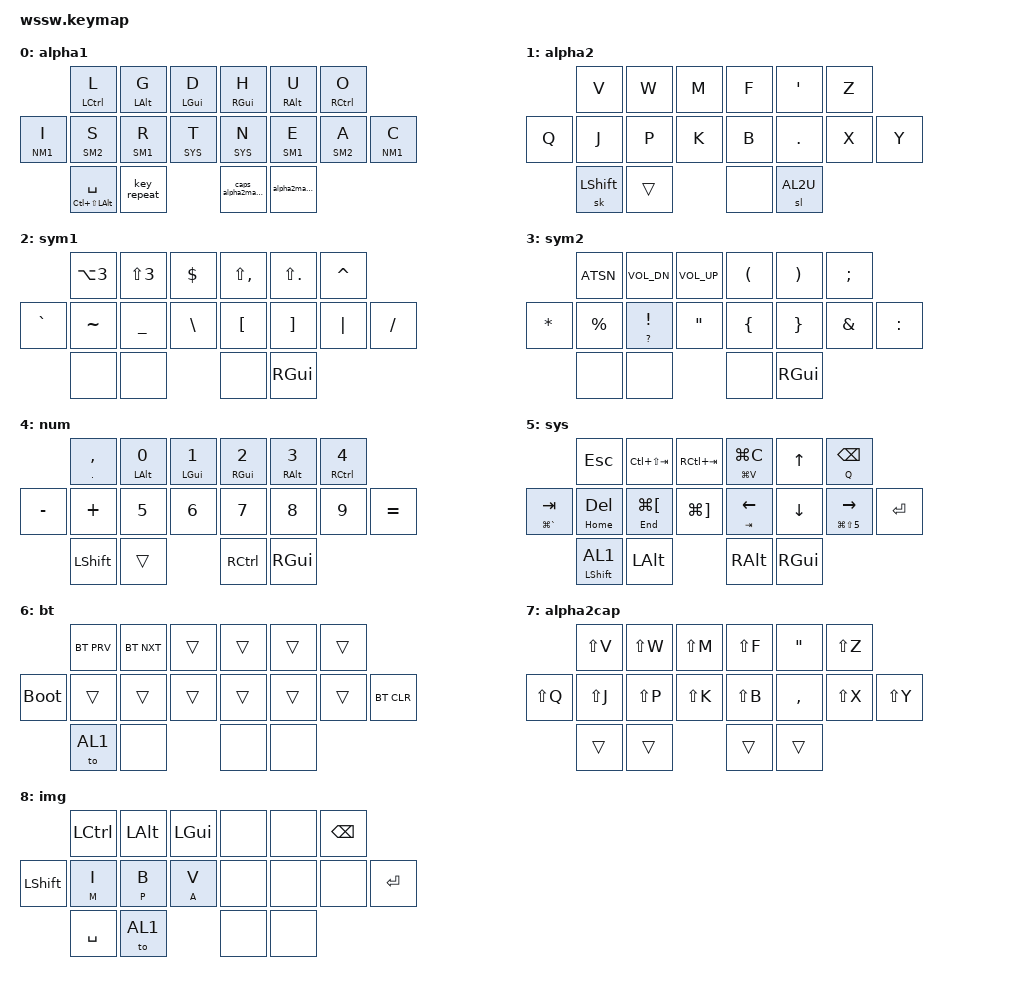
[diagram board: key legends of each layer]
/*
 * Copyright (c) 2020 The ZMK Contributors
 *
 * SPDX-License-Identifier: MIT
 */

#include <behaviors.dtsi>
#include <dt-bindings/zmk/keys.h>
#include <dt-bindings/zmk/bt.h>
#include <dt-bindings/zmk/mouse.h>



&mt {
	tapping-term-ms = <201>;
	flavor = "tap-preferred";
};
&sk {
	release-after-ms = <2000>;
	quick-release;
};

/* Layers */
#define AL1 0
#define AL2 1
#define SM1 2
#define SM2 3	
#define NM1 4	
#define SYS 5
#define BT 6	
#define AL2U 7
#define IMG 8
/ { 
	combos {
		compatible = "zmk,combos";
		combo_sys {
			timeout-ms = <30>;
			key-positions = <3 4 5>;
			bindings = <&to SYS>;
		};
		combo_caps {
			timeout-ms = <30>;
			key-positions = <10 11 12>;
			bindings = <&caps_word>;
		};
		combo_bt  {
			timeout-ms = <10>;
			key-positions = <11 12>;
			bindings = <&to BT>;
			layers = <SM1>; 
		};
		lalt {
			timeout-ms = <20>;
			key-positions = <8 9>;
			bindings = <&kp LALT>; 
			layers = <SYS>; 
		};
		lclk {
			timeout-ms = <20>;
			key-positions = <10 11>;
			bindings = <&mkp LCLK>;
			layers = <SYS>;
		};
		rclk {
			timeout-ms = <20>;
			key-positions = <3 4>;
			bindings = <&mkp RCLK>;
			layers = <SYS>;
		};
		combo_img {
			timeout-ms = <30>;
			key-positions = <0 1 2>;
			bindings = <&to IMG>;
		};

	};

	behaviors {
		hm_l: homerow_mods_left {
			compatible = "zmk,behavior-hold-tap";
			label = "HOMEROW_MODS_L";
			#binding-cells = <2>;
			tapping-term-ms = <300>;
			quick-tap-ms = <250>;
			flavor = "tap-preferred";
			bindings = <&kp>, <&kp>;
			hold-trigger-key-positions = <3 4 5 10 11 12 13 14>; // right hand
		};
		hm_r: homerow_mods_right {
			compatible = "zmk,behavior-hold-tap";
			label = "HOMEROW_MODS_R";
			#binding-cells = <2>;
			tapping-term-ms = <300>;
			quick-tap-ms = <250>;
			flavor = "tap-preferred";
			bindings = <&kp>, <&kp>;
			hold-trigger-key-positions = <0 1 2 6 7 8 9>; // left hand
		};
		sr: shift_layer {
			compatible = "zmk,behavior-hold-tap";
			label = "SHIFT_LAYER";
			#binding-cells = <2>;
			tapping-term-ms = <300>;
			quick_tap_ms = <0>;
			flavor = "tap-preferred";
			bindings = <&kp>, <&to>;
			retro-tap;
		};
		hl_l: homerow_layers_left {
			compatible = "zmk,behavior-hold-tap";
			label = "HOMEROW_LAYERS_L";
			#binding-cells = <2>;
			tapping-term-ms = <220>;
			quick-tap-ms = <250>;
			flavor = "tap-preferred";
			bindings = <&mo>, <&kp>;
			hold-trigger-key-positions = <3 4 5 10 11 12 13 14>; // right hand
		};
		hl_r: homerow_layers_right {
			compatible = "zmk,behavior-hold-tap";
			label = "HOMEROW_LAYERS_R";
			#binding-cells = <2>;
			tapping-term-ms = <220>;
			quick-tap-ms = <250>;
			flavor = "tap-preferred";
			bindings = <&mo>, <&kp>;
			hold-trigger-key-positions = <0 1 2 6 7 8 9>; // left hand
		};
		td: tapdance {
			compatible = "zmk,behavior-hold-tap";
			label = "TAPDANCE";
			#binding-cells = <2>;
			tapping-term-ms = <190>;
			quick-tap-ms = <250>;
			flavor = "tap-preferred";
			bindings = <&kp>, <&kp>;
		};
		alpha2macro: behavior_macro_1 {
			compatible = "zmk,behavior-macro";
			label = "MACRO1";
			#binding-cells = <0>;
			bindings = < &sl AL2 >;
		};
		caps_alpha2macro: behavior_macro_2 {
			compatible = "zmk,behavior-macro";
			label = "MACRO2";
			#binding-cells = <0>;
			bindings = < &sl AL2U >;
		};
	};

	//			00	01	02			03	04	05
	//		06	07	08	09			10	11	12	13
	//					14	15	16	17

	keymap {
		compatible = "zmk,keymap";

		alpha1 {
			bindings = <
									&hm_l LCTL L	&hm_l LALT G	&hm_l LGUI D		&hm_r RGUI H	&hm_r RALT U	&hm_r RCTL O	  
				&hl_l NM1 I		&hl_l SM2 S		&hl_l SM1 R		&hl_l SYS T			&hl_r SYS N		&hl_r SM1 E		&hl_r SM2 A		&hl_r NM1 C
								&mt LC(LS(LALT)) SPC	&key_repeat					&caps_alpha2macro	&alpha2macro
			>;
		};

		alpha2 {
			bindings = <
						&kp V	&kp W	&kp M		&kp F	&kp SQT		&kp Z
				&kp Q	&kp J	&kp P	&kp K		&kp B	&kp DOT		&kp X	&kp Y 
						&sk LSHIFT	&trans			&none	&sl AL2U	
			>;
		};

		sym1 {
			bindings = <
							&kp LA(N3)	&kp LS(N3)	&kp DLLR		&kp LS(COMMA)	&kp LS(DOT)		&kp CARET
				&kp GRAVE	&kp TILDE	&kp UNDER	&kp BSLH		&kp LBKT		&kp RBKT		&kp PIPE &kp SLASH
							&none	&none							&none	&kp RGUI
			>;
		};

		sym2 {
			bindings = <
							&kp ATSN	&kp K_VOL_DN	&kp K_VOL_UP		&kp LPRN	&kp RPRN	&kp SEMI
				&kp STAR	&kp PRCNT	&td QMARK EXCL	&kp DQT				&kp LBRC	&kp RBRC	&kp AMPS	&kp COLON 
							&none	&none									&none	&kp RGUI
			>;
		};

		num {
			bindings = <
							&td DOT COMMA	&hm_l LALT N0	&hm_l LGUI N1		&hm_r RGUI N2	&hm_r RALT N3	&hm_r RCTL N4
				&kp MINUS	&kp PLUS		&kp N5			&kp N6				&kp N7			&kp N8			&kp N9		&kp EQUAL
							&kp LSHIFT	&trans									&kp RCTL	&kp RGUI
			>;
		};

		sys {
			bindings = <
									&kp ESC			&kp LC(LS(TAB))		&kp RC(TAB)			&td LG(V) LG(C)		&kp UP		&td Q BKSP
				&td LG(GRAVE) TAB	&td HOME DEL	&td END LG(LBKT)	&kp LG(RBKT)		&td TAB LEFT		&kp DOWN	&td  LG(LS(N5)) RIGHT	&kp RET
									&sr LSHIFT AL1		&kp LALT							&kp RALT	&kp RGUI
			>;
		};

		bt {
			bindings = <
								&bt BT_PRV	&bt BT_NXT	&trans			&trans	&trans	&trans
				&bootloader		&trans		&trans		&trans			&trans	&trans	&trans	&bt BT_CLR
								&to AL1		&none						&none	&none
			>;
		};

		alpha2cap {
			bindings = <
							&kp LS(V)	&kp LS(W)	&kp LS(M)		&kp LS(F)	&kp DQT		&kp LS(Z)
				&kp LS(Q)	&kp LS(J)	&kp LS(P)	&kp LS(K)		&kp LS(B)	&kp COMMA	&kp LS(X)	&kp LS(Y) 
							&trans	&trans							&trans	&trans
			>;
		};

		img {
			bindings = <
							&kp LCTL	&kp LALT	&kp LGUI		&none	&none	&kp BKSP
				&kp LSHIFT  &td M I		&td P B		&td A V			&none	&none	&none	&kp RET
							&kp SPC		&to AL1						&none	&none
			>;
		};

	};
};


